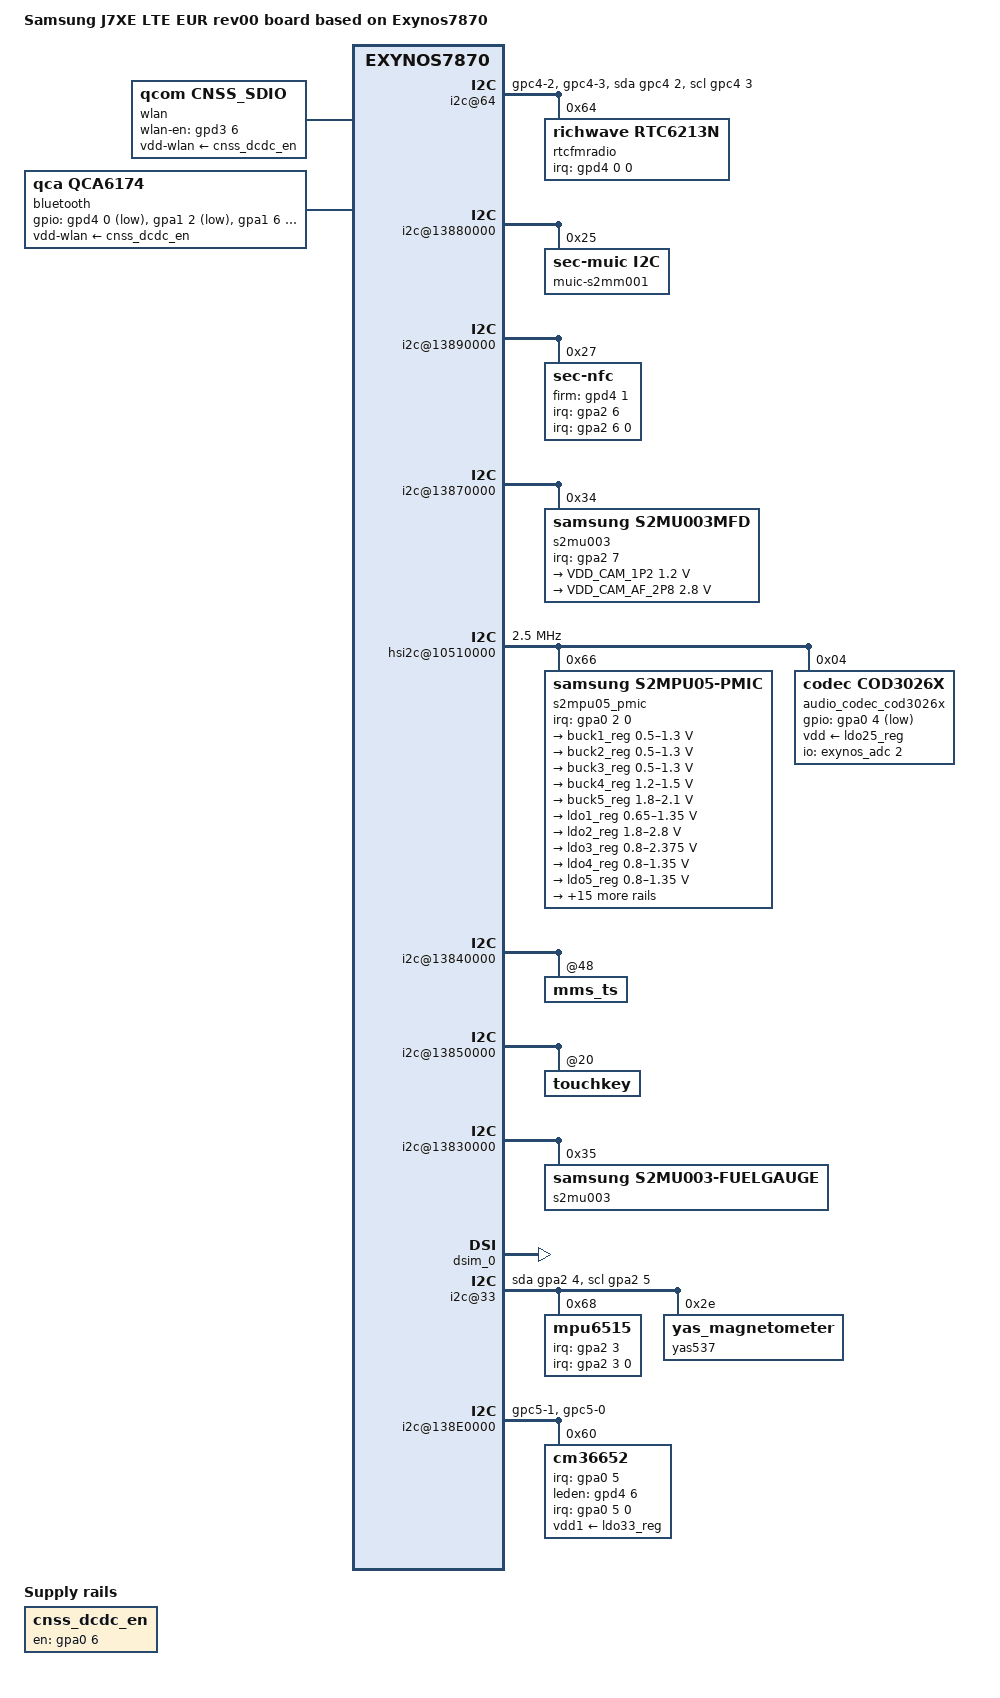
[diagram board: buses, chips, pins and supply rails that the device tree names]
/*
 * SAMSUNG UNIVERSAL8890 board device tree source
 *
 * Copyright (c) 2013 Samsung Electronics Co., Ltd.
 *		http://www.samsung.com
 *
 * This program is free software; you can redistribute it and/or modify
 * it under the terms of the GNU General Public License version 2 as
 * published by the Free Software Foundation.
*/

/dts-v1/;
#include "exynos7870-j7xelte_common.dtsi"
#include "modem-ss315ap-pdata.dtsi"
#include "exynos7870-j7xelte_eur_open_gpio_00.dtsi"
#include "exynos7870-j7xelte_eur_open_battery_00.dtsi"

/ {
	model = "Samsung J7XE LTE EUR rev00 board based on Exynos7870";
        model_info-chip = <7870>;
        model_info-platform = "android";
        model_info-subtype = "samsung";
        model_info-hw_rev = <0>;
        model_info-hw_rev_end = <0>;
	compatible = "samsung, J7XE EUR OPEN 00", "samsung,exynos7870";

	i2c@64{
		compatible = "i2c-gpio";
		gpios = <&gpc4 2 0 /* sda */
				&gpc4 3 0 /* scl */
				>;
		i2c-gpio,delay-us = <2>;
		#address-cells = <1>;
		#size-cells = <0>;
		status = "okay";
		pinctrl-names = "default";
		pinctrl-0 = <&fmradio_i2c>;
		rtcfmradio@64 {
			compatible = "richwave,rtc6213n", "rtc6213n";
			reg = <0x64>;
			interrupts = <0 0 0>;
			interrupt-parent = <&gpd4>;
			pinctrl-names = "default";
			pinctrl-0 = <&fmradio_irq>;
		};
	};
	
	i2c@13880000 {
		status = "okay";
		muic-s2mm001@25 {
			compatible = "sec-muic,i2c";
			reg = <0x25>;
			pinctrl-names = "default";
			muic,muic_int = <&gpa0 6 0>;
		};
	};

	i2c@13890000{
		samsung,i2c-sda-delay = <100>;
		samsung,i2c-max-bus-freq = <300000>;
		status = "okay";
		#address-cells = <1>;
		#size-cells = <0>;

		sec-nfc@27 {
			compatible = "sec-nfc";
			reg = <0x27>;
			interrupts = <6 0 0>;
			interrupt-parent = <&gpa2>;
			sec-nfc,nfc_pd = <&gpc2 2 0x2>;
			sec-nfc,firm-gpio = <&gpd4 1 0>;
			sec-nfc,irq-gpio = <&gpa2 6 0>;
			clkctrl-reg = <0x1048600C>;
			sec-nfc,nfc_clkreq = <&gpc2 3 0x2>;
			sec-nfc,pvdd_en = <&gpf4 0 0>;
			sec-nfc,check_nfc = <&gpd1 2 0x0>;
			pinctrl-names = "default";
			pinctrl-0 = <&nfc_n5_firm &nfc_n5_clk_req &nfc_pd &nfc_int &nfc_pvdd_en &nfc_det>;
		};
	};

	cnss_dcdc_en: cnss_dcdc_en {
		compatible = "regulator-fixed";
		regulator-name = "cnss_dcdc_en";
		startup-delay-us = <4000>;
		enable-active-high;
		gpio = <&gpa0 6 0>;
	};

	i2c@13870000 {
		status = "okay";

		s2mu003@34 {
			compatible = "samsung,s2mu003mfd";
			reg = <0x34>;
			fuelgauge_reg = <0x35>;
			pinctrl-names = "default";
			pinctrl-0 = <&if_irq &if_pmic_rstb>;
			s2mu003,irq-gpio = <&gpa2 7 0>;

			regulators {
				s2mu003-buck1 {
					regulator-name = "VDD_CAM_1P2";
					regulator-min-microvolt = <1200000>;
					regulator-max-microvolt = <1200000>;
				};
				s2mu003-ldo1 {
					regulator-name = "VDD_CAM_AF_2P8";
					regulator-min-microvolt = <2800000>;
					regulator-max-microvolt = <2800000>;
				};
			};

			leds {
				compatible = "samsung,s2mu003led";
				torch-gpio = <&gpd3 3 0>;
				flash-gpio = <&gpd3 2 0>;

				s2mu003-leds1 {
					ledname = "leds-sec1";
					id = <0>;
					brightness = <0x17>;
					timeout = <0x0>;
					max-brightness = <0x15>;
				};

				s2mu003-leds2 {
					ledname = "leds-sec2";
					id = <1>;
					brightness = <0x01>;
					timeout = <0x0>;
					max-brightness = <0xf>;
				};
			};
		};
	};

	but_zones: but_zones {
		#list-but-cells = <3>;
	};

	hsi2c@10510000 {
		status = "okay";
		samsung,hs-mode;
		clock-frequency = <2500000>;
		samsung,hsi2c-batcher;
		#address-cells = <1>;
		#size-cells = <0>;

		s2mpu05_pmic@66 {
			compatible = "samsung,s2mpu05-pmic";
			reg = <0x66>;
			ten-bit-address;
			interrupts = <2 0 0>;
			interrupt-parent = <&gpa0>;
			pinctrl-names = "default";
			pinctrl-0 = <&pmic_irq &pm_wrsti>;
			g3d_en = <1>; /* 1 : enable , 0 : disable */
			buck2en_pin = "etc1-3";
			buck2en_addr = "139B0080.pinctrl";
			/* RTC: wtsr/smpl */
			wtsr_en = <1>; /* enable */
			smpl_en = <1>; /* enable */
			wtsr_timer_val = <3>;   /* 1000ms */
			smpl_timer_val = <4>;   /* 500ms */
			check_jigon = <0>; /* do not check jigon */
			/* RTC: If it's first boot, reset rtc to 1/1/2016 12:00:00(Fri) */
			init_time,sec = <0>;
			init_time,min = <0>;
			init_time,hour = <12>;
			init_time,mday = <1>;
			init_time,mon = <0>;
			init_time,year = <116>;
			init_time,wday = <5>;

			regulators {
				buck1_reg: BUCK1 {
					regulator-name = "BUCK1";
					regulator-min-microvolt = <500000>;
					regulator-max-microvolt = <1300000>;
					regulator-always-on;
					regulator-boot-on;
					regulator-ramp-delay = <12000>;
					regulator-initial-mode = <1>;
					regulator-expected-consumer = <2>;
				};

				buck2_reg: BUCK2 {
					regulator-name = "BUCK2";
					regulator-min-microvolt = <500000>;
					regulator-max-microvolt = <1300000>;
					regulator-always-on;
					regulator-boot-on;
					regulator-ramp-delay = <12000>;
					regulator-initial-mode = <2>;		/* MIF mode */
					regulator-expected-consumer = <4>;
				};

				buck3_reg: BUCK3 {
					regulator-name = "BUCK3";
					regulator-min-microvolt = <500000>;
					regulator-max-microvolt = <1300000>;
					regulator-always-on;
					regulator-boot-on;
					regulator-ramp-delay = <12000>;
					regulator-initial-mode = <2>;
				};

				buck4_reg: BUCK4 {
					regulator-name = "BUCK4";
					regulator-min-microvolt = <1200000>;
					regulator-max-microvolt = <1500000>;
					regulator-always-on;
					regulator-boot-on;
					regulator-ramp-delay = <12000>;
					regulator-initial-mode = <2>;
				};

				buck5_reg: BUCK5 {
					regulator-name = "BUCK5";
					regulator-min-microvolt = <1800000>;
					regulator-max-microvolt = <2100000>;
					regulator-always-on;
					regulator-boot-on;
					regulator-ramp-delay = <12000>;
					regulator-initial-mode = <2>;
				};

				ldo1_reg: LDO1 {
					regulator-name = "vdd_ldo1";
					regulator-min-microvolt = <650000>;
					regulator-max-microvolt = <1350000>;
					regulator-always-on;
					regulator-boot-on;
					regulator-ramp-delay = <12000>;
					regulator-initial-mode = <3>;
				};

				ldo2_reg: LDO2 {
					regulator-name = "vqmmc";
					regulator-min-microvolt = <1800000>;
					regulator-max-microvolt = <2800000>;
					regulator-ramp-delay = <12000>;
					regulator-initial-mode = <0>;
				};

				ldo3_reg: LDO3 {
					regulator-name = "vdd_ldo3";
					regulator-min-microvolt = <800000>;
					regulator-max-microvolt = <2375000>;
					regulator-boot-on;
					regulator-always-on;
					regulator-ramp-delay = <12000>;
					regulator-initial-mode = <3>;
				};

				ldo4_reg: LDO4 {
					regulator-name = "vdd_ldo4";
					regulator-min-microvolt = <800000>;
					regulator-max-microvolt = <1350000>;
					regulator-boot-on;
					regulator-always-on;
					regulator-ramp-delay = <12000>;
					regulator-initial-mode = <1>;
				};

				ldo5_reg: LDO5 {
					regulator-name = "vdd_ldo5";
					regulator-min-microvolt = <800000>;
					regulator-max-microvolt = <1350000>;
					regulator-boot-on;
					regulator-always-on;
					regulator-ramp-delay = <12000>;
					regulator-initial-mode = <3>;
				};

				ldo6_reg: LDO6 {
					regulator-name = "vdd_ldo6";
					regulator-min-microvolt = <800000>;
					regulator-max-microvolt = <1350000>;
					regulator-boot-on;
					regulator-always-on;
					regulator-ramp-delay = <12000>;
					regulator-initial-mode = <1>;
				};

				ldo7_reg: LDO7 {
					regulator-name = "vdd_ldo7";
					regulator-min-microvolt = <800000>;
					regulator-max-microvolt = <2375000>;
					regulator-boot-on;
					regulator-always-on;
					regulator-ramp-delay = <12000>;
					regulator-initial-mode = <1>;
				};

				ldo8_reg: LDO8 {
					regulator-name = "vdd_ldo8";
					regulator-min-microvolt = <1800000>;
					regulator-max-microvolt = <3375000>;
					regulator-boot-on;
					regulator-always-on;
					regulator-ramp-delay = <12000>;
					regulator-initial-mode = <1>;
				};

				ldo9_reg: LDO9 {
					regulator-name = "vdd_ldo9";
					regulator-min-microvolt = <650000>;
					regulator-max-microvolt = <1350000>;
					regulator-always-on;
					regulator-ramp-delay = <12000>;
					regulator-initial-mode = <1>;
				};

				ldo10_reg: LDO10 {
					regulator-name = "vdd_ldo10";
					regulator-min-microvolt = <650000>;
					regulator-max-microvolt = <1350000>;
					regulator-always-on;
					regulator-ramp-delay = <12000>;
					regulator-initial-mode = <1>;
				};

				ldo25_reg: LDO25 {
					regulator-name = "vdd_ldo25";
					regulator-min-microvolt = <800000>;
					regulator-max-microvolt = <2375000>;
					regulator-ramp-delay = <12000>;
					regulator-initial-mode = <1>;
				};

				ldo26_reg: LDO26 {
					regulator-name = "vemmc";
					regulator-min-microvolt = <1800000>;
					regulator-max-microvolt = <3375000>;
					regulator-boot-on;
					regulator-ramp-delay = <12000>;
					regulator-initial-mode = <3>;
				};

				ldo27_reg: LDO27 {
					regulator-name = "vqemmc";
					regulator-min-microvolt = <800000>;
					regulator-max-microvolt = <2375000>;
					regulator-boot-on;
					regulator-ramp-delay = <12000>;
					regulator-initial-mode = <3>;
				};

				ldo29_reg: LDO29 {
					regulator-name = "LCD_3P0";
					regulator-min-microvolt = <3000000>;
					regulator-max-microvolt = <3000000>;
					regulator-boot-on;
					regulator-ramp-delay = <12000>;
					regulator-initial-mode = <3>;
				};

				ldo30_reg: LDO30 {
					regulator-name = "LCD_1P8";
					regulator-min-microvolt = <1800000>;
					regulator-max-microvolt = <1800000>;
					regulator-boot-on;
					regulator-ramp-delay = <12000>;
					regulator-initial-mode = <3>;
				};

				ldo31_reg: LDO31 {
					regulator-name = "vdd_ldo31";
					regulator-min-microvolt = <1800000>;
					regulator-max-microvolt = <3375000>;
					regulator-boot-on;
					regulator-always-on;
					regulator-ramp-delay = <12000>;
					regulator-initial-mode = <1>;
				};

				ldo32_reg: LDO32 {
					regulator-name = "tsp_dvdd";
					regulator-min-microvolt = <3300000>;
					regulator-max-microvolt = <3300000>;
					regulator-always-on;
					regulator-ramp-delay = <12000>;
					regulator-initial-mode = <1>;
				};

				ldo33_reg: LDO33 {
					regulator-name = "vdd_sensor_2p85";
					regulator-min-microvolt = <2850000>;
					regulator-max-microvolt = <2850000>;
					regulator-always-on;
					regulator-boot-on;
					regulator-ramp-delay = <12000>;
					regulator-initial-mode = <1>;
				};

				ldo34_reg: LDO34 {
					regulator-name = "vtouch_1.8v";
					regulator-min-microvolt = <1800000>;
					regulator-max-microvolt = <1800000>;
					regulator-boot-on;
				};

				ldo35_reg: LDO35 {
					regulator-name = "VDD_CAM_SENSOR_A2P95";
					regulator-min-microvolt = <2950000>;
					regulator-max-microvolt = <2950000>;
					regulator-initial-mode = <0>;
				};
			};
		};

		audio_codec_cod3026x: cod3026x@04 {
			compatible = "codec,cod3026x";
			reg = <0x04>;
			ten-bit-address;
			vdd-supply = <&ldo25_reg>;
			pinctrl-names = "default";
			pinctrl-0 = <&cod3026_irq>;
			interrupt-parent = <&gpa0>;
			gpios = <&gpa0 4 0xf>;
			mic-bias1-voltage = <1>;
			mic-bias2-voltage = <1>;
			mic-bias-ldo-voltage = <3>;
			use-det-adc-mode;
			io-channels = <&exynos_adc 2>;
			io-channel-names = "adc-jack";
			#io-channel-cells = <1>;
			io-channel-ranges;
			but-zones-list = <&but_zones 226 0 203>, /* send/end */
					<&but_zones 582 204 290>, /* google */
					<&but_zones 115 291 488>, /* vol up */
					<&but_zones 114 489 1000>; /* vol down */
			mic-adc-range = <1350>;
		};
	};

	wlan {
		compatible = "qcom,cnss_sdio";
		wlan-en-gpio = <&gpd3 6 0>; /* WLAN_EN */
		wlan-host-wake = <&gpa2 2 0>; /* WLAN_HOST_WAKE */
		vdd-wlan-supply = <&cnss_dcdc_en>; /* DCDC_EN regulator */
		pinctrl-names = "default";
		pinctrl-0 = <&cnss_wlanen &cfg_wlanhostwake>;
		status = "okay";
	};
	
	pinctrl@139B0000 {
		vibetonz_pwm: vibetonz_pwm {
			samsung,pins = "gpc0-1";
			samsung,pin-function = <2>; 
			samsung,pin-pud = <1>; 
			samsung,pin-drv = <0>; 
		};

		tsp_33_en: tsp-33-en {
			samsung,pins = "gpd1-6";
			samsung,pin-function = <1>;
			samsung,pin-pud = <3>;
			samsung,pin-drv = <0>;
			samsung,pin-val = <1>;
		};
		
		nfc_det: nfc-det {
			samsung,pins = "gpd1-2";
			samsung,pin-function = <0>;
			samsung,pin-pud = <0>;
		};	
	};

	i2c@13840000 {
		mms_ts@48 {
			pinctrl-0 = <&attn_irq &tsp_33_en>;
			melfas,max_x = <1080>;
			melfas,max_y = <1920>;
			melfas,fw_name = "tsp_melfas/mms449_s5neo.fw";
		};
	};

	i2c@13850000 {
		touchkey@20 {
			coreriver,regulator_ic = "vtouch_1.8v";
		};
	};

	pinctrl@139B0000 {
		fmradio_irq: fmradio-irq {
			samsung,pins = "gpd4-0";
			samsung,pin-function = <0xf>;
			samsung,pin-pud = <0>;
			samsung,pin-drv = <0>;
		};

		fmradio_i2c: fmradio-i2c {
			samsung,pins ="gpc4-2", "gpc4-3";
			samsung,pin-function = <3>;
			samsung,pin-pud = <0>;
			samsung,pin-drv = <0>;
		};
	};

	s2mu003-charger {
		status = "disable";
		compatible = "samsung,s2mu003-charger";
		battery,is_1MHz_switching = <1>;
		battery,is_fixed_switching = <1>;
		battery,chg_gpio_en = <0>;
		battery,chg_polarity_en = <0>;
		battery,chg_gpio_status = <0>;
		battery,chg_polarity_status = <0>;
		battery,chg_float_voltage = <4400>;
	};

	i2c@13830000 {
		status = "okay";
		s2mu003@34 {
			compatible = "samsung,s2mu003-fuelgauge";
			reg = <0x35>;
			pinctrl-names = "default";
		};
	};

	decon_fb@14830000 {
		gpios = <&gpa0 6 0xf>; /* te_signal XEINT_6 */
		psr_mode = <2>; /* 0: video mode, 1: DP command mode, 2: MIPI command mode */
		disp-pll-clk = <142000000>;
		disp-eclk = <160000000>;
		disp-vclk = <142000000>;
		disp-dvfs = <200000>;
		status = "okay";
	};

	dsim_0: dsim@14800000 {
		lcd_info = <&ea8064g>;
		decon_board = <&decon_board>;
		status = "okay";
	};

	decon_board: decon_board {
		gpio_lcd_rst = <&gpd3 4 0x1>;

		dsim_set_panel_power_enable {
			type =
			"regulator,enable",	"LCD_3P0",
			"regulator,enable",	"LCD_1P8";
		};
		dsim_set_panel_power_disable {
			type =
			"regulator,disable",	"LCD_1P8",
			"delay,usleep",	"5000 6000",
			"regulator,disable",	"LCD_3P0";
		};
		dsim_reset_panel {
			type =
			"gpio,high",	"gpio_lcd_rst",
			"delay,usleep",	"10000 11000",
			"gpio,low",	"gpio_lcd_rst",
			"delay,usleep",	"10000 11000",
			"gpio,high",	"gpio_lcd_rst",
			"delay,usleep",	"10000 11000";
		};
	};

	ea8064g: ea8064g_fhd {
		mode = <2>; /* 0: video mode, 1: DP command mode, 2: MIPI command mode */
		resolution = <1080 1920>;
		size = <70 121>;
		ddi_type = <1>;
		timing,refresh = <60>;
		timing,h-porch = <1 1 1>;
		timing,v-porch = <10 3 1>;
		timing,dsi-hs-clk = <1100>;
		timing,pms = <3 127 0>;
		timing,dsi-escape-clk = <8>;
	};

	bluetooth {
		compatible = "qca,qca6174";
		gpios = <&gpd4 0 0x1	/*BT_EN*/
				&gpa1 2 0x1	/*BT_WAKE*/
				&gpa1 6 0xF	/*BT_HOST_WAKE*/ >;
		vdd-wlan-supply = <&cnss_dcdc_en>; /* DCDC_EN regulator */
		pinctrl-names = "default";
		pinctrl-0=<&bt_hostwake &bt_btwake &bt_en>;
		status = "okay";
	};
	
	pinctrl@13750000 {
		sd1_cmd: sd1-cmd {
			samsung,pins = "gpr2-1";
			samsung,pin-function = <2>;
			samsung,pin-pud = <0>;
			samsung,pin-drv = <2>;
			samsung,pin-con-pdn = <2>;
			samsung,pin-pud-pdn = <3>;
		};
	};
	
	pinctrl@139F0000 {
		mpu_irq: mpu_irq {
			samsung,pins = "gpa2-3";
			samsung,pin-function = <0xf>;
			samsung,pin-pud = <1>;
			samsung,pin-drv = <0>;
		};

		ps_als: ps_als {
			samsung,pins = "gpa0-5";
			samsung,pin-function = <0xf>;
			samsung,pin-pud = <0>;
			samsung,pin-drv = <0>;
		};
	};

	pinctrl@139B0000 {
		leden_gpio: leden_gpio {
			samsung,pins = "gpd4-6";
			samsung,pin-function = <1>;
			samsung,pin-pud = <0>;
			samsung,pin-val = <0>;
		};

		proxy_i2c: proxy_i2c {
			samsung,pins = "gpc5-1", "gpc5-0";
			samsung,pin-function = <2>;
			samsung,pin-pud = <0>;
		};
	};

	i2c@33{
		compatible = "i2c-gpio";
		gpios = <&gpa2 4 0		/* sda */
			&gpa2 5 0>;		/* scl */

		i2c-gpio,delay-us = <5>;
		#address-cells = <1>;
		#size-cells = <0>;
		status = "okay";

		mpu6515@68 {
			compatible = "mpu6515";
			reg = <0x68>;
			pinctrl-names = "default";
			pinctrl-0 = <&mpu_irq>;
			interrupt-parent = <&gpa2>;
			interrupts = <3 0 0>;
			invensense,irq-gpio= <&gpa2 3 0>;
			invensense,int_config = <0x00>;
			invensense,level_shifter = <0>;
			invensense,orientation = <5>;
		};

		yas537@2e {
			compatible = "yas_magnetometer";
			reg = <0x2e>;
			yas,orientation = <7>;
			yas,softiron = <10000 0 0 0 10000 0 0 0 10000>;
			yas,softiron_sign = <2 2 0 0 2 0 0 0 2>;
		};
	};

	i2c@138E0000 {
		samsung,i2c-sda-delay = <100>;
		samsung,i2c-max-bus-freq = <400000>;
		status = "okay";
		#address-cells = <1>;
		#size-cells = <0>;
		pinctrl-names = "default";
		pinctrl-0 = <&proxy_i2c>;

		cm36652@60 {
			compatible = "cm36652";
			reg = <0x60>;
			pinctrl-names = "dafault";
			pinctrl-0 = <&ps_als &leden_gpio>;
			vdd1-supply = <&ldo33_reg>;
			interrupt-parent = <&gpa0>;
			interrupts = <5 0 0>;
			cm36652,irq_gpio = <&gpa0 5 0x00>;
			cm36652,leden_gpio =  <&gpd4 6 0>;
			cm36652,default_hi_thd = <18>;
			cm36652,default_low_thd = <14>;
			cm36652,cancel_hi_thd = <10>;
			cm36652,cancel_low_thd = <7>;
			cm36652,trim = <0x0000>;
		};
	};

	s2mu003-fuelgauge@35 {
		fuelgauge,fuel_alert_soc = <1>;
		fuelgauge,capacity_max = <1000>;
		fuelgauge,capacity_max_margin = <30>;
		fuelgauge,capacity_min = <0>;
		fuelgauge,capacity_calculation_type = <28>;
		fuelgauge,repeated_fuelalert;
		fuelgauge,type_str = "SDI";
	};

	battery {
		battery,charger_name = "sec-charger";
		battery,fuelgauge_name = "sec-fuelgauge";

		battery,thermal_source = <2>; /* SEC_BATTERY_THERMAL_SOURCE_ADC */
		battery,temp_table_adc = <57 61 71 84 98 138 194 275 391 753 1231>;
		battery,temp_table_data = <600 550 500 450 400 300 200 100 0 (-20) (-40)>;

		battery,input_current_limit = <1800 0 0 1500 460 900 1000 460 1000 0 820 1900 1000 0 0 400 700 1300 300 1000 1500 0 1667 1000 80 1800>;
		battery,fast_charging_current = <2100 0 0 1300 460 1200 1000 460 1200 0 1000 1600 1000 0 0 400 700 1300 300 1000 1500 0 3150 1000 80 1800>;
		battery,full_check_current_1st = <350 0 0 250 250 250 250 250 250 0 250 250 250 0 0 350 350 350 350 350 350 0 350 350 0 350>;
		battery,full_check_current_2nd = <3000 0 0 3000 3000 3000 3000 3000 3000 0 3000 3000 0 0 0 3000 3000 3000 3000 3000 3000 0 3000 3000 3000 3000>;
		battery,input_current_limit_new = <1800 0 0 1500 460 900 1000 460 1000 0 820 1900 1000 0 0 400 700 1300 300 1000 1500 0 1667 1000 80 1800>;
		battery,fast_charging_current_new = <2100 0 0 1700 460 1200 1000 460 1200 0 1000 1600 1000 0 0 400 700 1300 300 1000 1500 0 3150 1000 80 1800>;

	};

	isa1000 {
		compatible = "isa1000";
		pinctrl-names = "default";
		pinctrl-0 = <&vibetonz_pwm>;
		isa1000_pdata {
			status = "okay";
			isa1000,max_timeout = <10000>;
			isa1000,pwm_use = <1>;
			isa1000,duty = <34290>;
			isa1000,period = <38100>;
			isa1000,pwm_id = <0>;
			isa1000,gpio_en = <&gpd1 1 0>;
			isa1000,regulator_name = "VDD_MOTOR_3.3";
		};
	};
};
